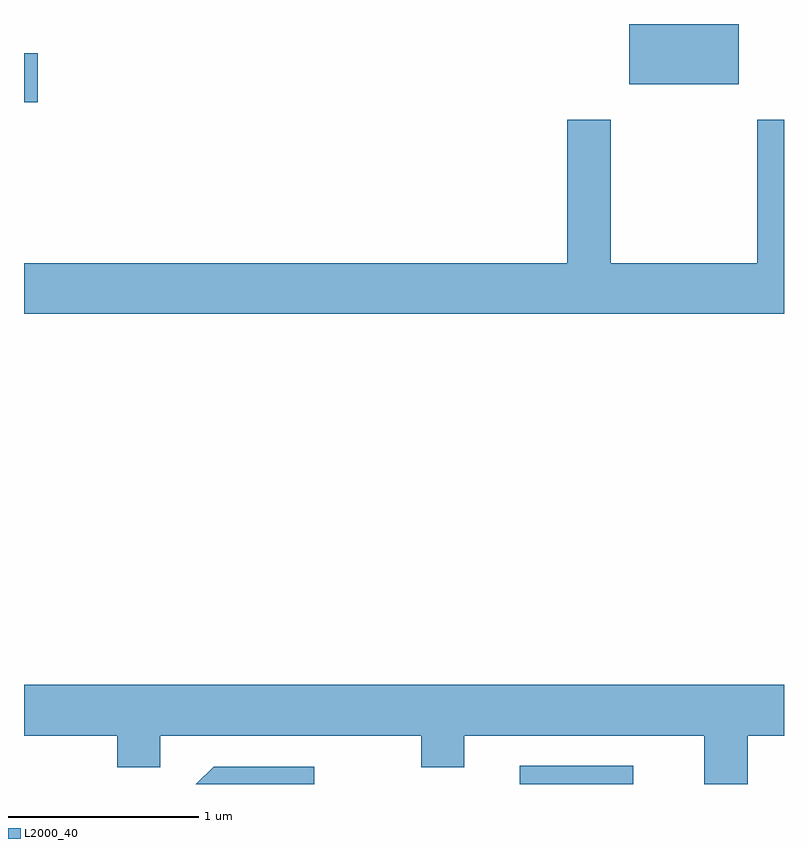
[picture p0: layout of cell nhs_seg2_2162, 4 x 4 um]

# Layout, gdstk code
import gdstk
lib = gdstk.Library(unit=1e-6, precision=1e-09)
def R(c, l, rs):  # rectangles x0, y0, x1, y1
    for r in rs: c.add(gdstk.rectangle(r[:2], r[2:], *l))
def P(c, l, *ps):  # polygons
    for p in ps: c.add(gdstk.Polygon(p, *l))
L2000_40 = (2000, 40)

nhs_seg2_2162 = lib.new_cell('nhs_seg2_2162')
R(nhs_seg2_2162, L2000_40, [(250.221,1085.802,250.818,1085.899), (247.611,1089.391,247.684,1089.649), (250.796,1089.486,251.374,1089.802)])
P(nhs_seg2_2162, L2000_40, [(251.611,1089.299),(251.471,1089.299),(251.471,1088.544),(250.699,1088.544),(250.699,1089.299),(250.471,1089.299),(250.471,1088.544),(247.611,1088.544),(247.611,1088.276),(251.611,1088.276)],
  [(251.419,1086.056),(251.611,1086.056),(251.611,1086.324),(247.611,1086.324),(247.611,1086.056),(248.101,1086.056),(248.101,1085.891),(248.329,1085.891),(248.329,1086.056),(249.701,1086.056),(249.701,1085.891),(249.929,1085.891),(249.929,1086.056),(251.191,1086.056),(251.191,1085.802),(251.419,1085.802)],
  [(249.138,1085.894),(248.609,1085.894),(248.516,1085.802),(249.138,1085.802)])

lib.write_gds('nhs_seg2_2162.gds')
